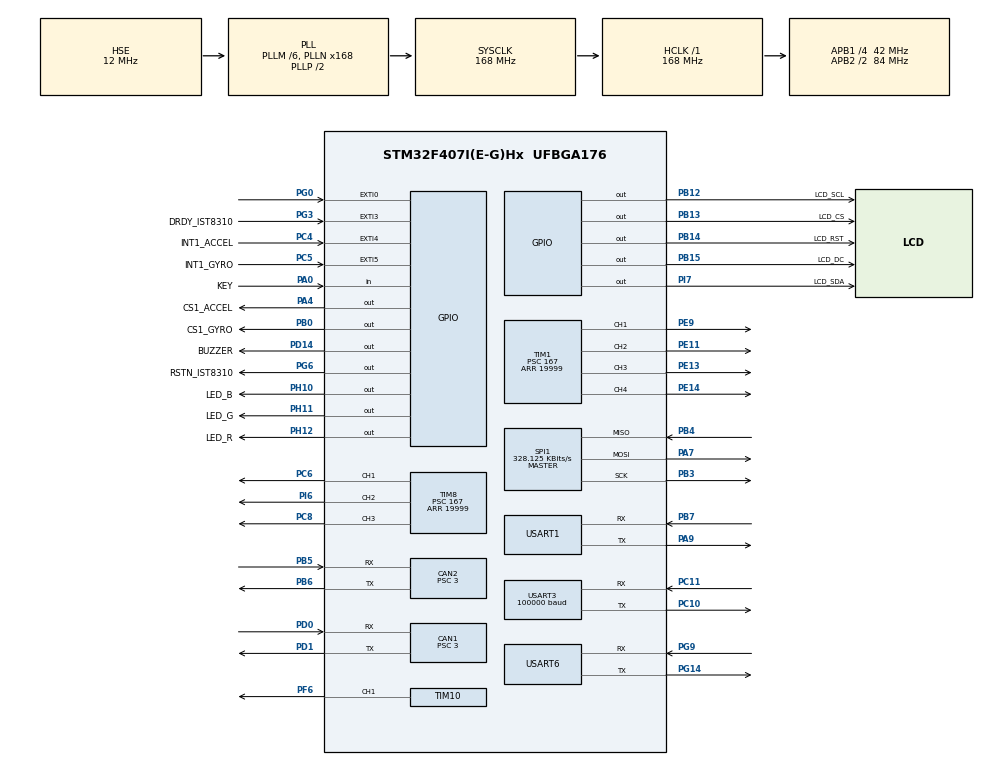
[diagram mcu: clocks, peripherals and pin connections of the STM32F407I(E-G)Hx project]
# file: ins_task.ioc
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CAN1.BS1=CAN_BS1_10TQ
CAN1.BS2=CAN_BS2_3TQ
CAN1.CalculateBaudRate=1000000
CAN1.CalculateTimeBit=1000
CAN1.CalculateTimeQuantum=71.42857142857143
CAN1.Prescaler=3
CAN2.BS1=CAN_BS1_10TQ
CAN2.BS2=CAN_BS2_3TQ
CAN2.CalculateBaudRate=1000000
CAN2.CalculateTimeBit=1000
CAN2.CalculateTimeQuantum=71.42857142857143
CAN2.Prescaler=3
Dma.Request0=SPI1_RX
Dma.Request1=SPI1_TX
Dma.Request2=USART3_RX
Dma.SPI1_RX.0.Direction=DMA_PERIPH_TO_MEMORY
Dma.SPI1_RX.0.FIFOMode=DMA_FIFOMODE_DISABLE
Dma.SPI1_RX.0.Instance=DMA2_Stream2
Dma.SPI1_RX.0.MemDataAlignment=DMA_MDATAALIGN_BYTE
Dma.SPI1_RX.0.MemInc=DMA_MINC_ENABLE
Dma.SPI1_RX.0.Mode=DMA_NORMAL
Dma.SPI1_RX.0.PeriphDataAlignment=DMA_PDATAALIGN_BYTE
Dma.SPI1_RX.0.PeriphInc=DMA_PINC_DISABLE
Dma.SPI1_RX.0.Priority=DMA_PRIORITY_VERY_HIGH
Dma.SPI1_TX.1.Direction=DMA_MEMORY_TO_PERIPH
Dma.SPI1_TX.1.FIFOMode=DMA_FIFOMODE_DISABLE
Dma.SPI1_TX.1.Instance=DMA2_Stream3
Dma.SPI1_TX.1.MemDataAlignment=DMA_MDATAALIGN_BYTE
Dma.SPI1_TX.1.MemInc=DMA_MINC_ENABLE
Dma.SPI1_TX.1.Mode=DMA_NORMAL
Dma.SPI1_TX.1.PeriphDataAlignment=DMA_PDATAALIGN_BYTE
Dma.SPI1_TX.1.PeriphInc=DMA_PINC_DISABLE
Dma.SPI1_TX.1.Priority=DMA_PRIORITY_HIGH
Dma.USART3_RX.2.Direction=DMA_PERIPH_TO_MEMORY
Dma.USART3_RX.2.FIFOMode=DMA_FIFOMODE_DISABLE
Dma.USART3_RX.2.Instance=DMA1_Stream1
Dma.USART3_RX.2.MemDataAlignment=DMA_MDATAALIGN_BYTE
Dma.USART3_RX.2.MemInc=DMA_MINC_ENABLE
Dma.USART3_RX.2.Mode=DMA_NORMAL
Dma.USART3_RX.2.PeriphDataAlignment=DMA_PDATAALIGN_BYTE
Dma.USART3_RX.2.PeriphInc=DMA_PINC_DISABLE
Dma.USART3_RX.2.Priority=DMA_PRIORITY_HIGH
FREERTOS.INCLUDE_eTaskGetState=1
FREERTOS.INCLUDE_pcTaskGetTaskName=1
FREERTOS.INCLUDE_uxTaskGetStackHighWaterMark=1
FREERTOS.INCLUDE_vTaskCleanUpResources=1
FREERTOS.INCLUDE_vTaskDelayUntil=1
FREERTOS.INCLUDE_xEventGroupSetBitFromISR=1
FREERTOS.INCLUDE_xQueueGetMutexHolder=1
FREERTOS.INCLUDE_xSemaphoreGetMutexHolder=1
FREERTOS.INCLUDE_xTaskAbortDelay=1
FREERTOS.INCLUDE_xTaskGetCurrentTaskHandle=1
FREERTOS.INCLUDE_xTaskGetHandle=1
FREERTOS.INCLUDE_xTimerPendFunctionCall=1
FREERTOS.Tasks01=test,24,128,test_task,As weak,NULL,Dynamic,NULL,NULL
FREERTOS.configTOTAL_HEAP_SIZE=24576
Mcu.Family=STM32F4
Mcu.Name=STM32F407I(E-G)Hx
Mcu.Package=UFBGA176
NVIC.CAN1_RX0_IRQn=true\:5\:0\:false\:false\:true\:true\:true\:true\:true
NVIC.CAN2_RX0_IRQn=true\:5\:0\:false\:false\:true\:true\:true\:true\:true
NVIC.DMA1_Stream1_IRQn=true\:5\:0\:false\:false\:true\:true\:false\:true\:true
NVIC.DMA2_Stream2_IRQn=true\:5\:0\:true\:false\:false\:true\:false\:true\:true
NVIC.DMA2_Stream3_IRQn=true\:5\:0\:true\:false\:false\:true\:false\:true\:true
NVIC.EXTI0_IRQn=true\:5\:0\:true\:false\:true\:true\:true\:true\:true
NVIC.EXTI3_IRQn=true\:5\:0\:true\:false\:true\:true\:true\:true\:true
NVIC.EXTI4_IRQn=true\:5\:0\:true\:false\:true\:true\:true\:true\:true
NVIC.EXTI9_5_IRQn=true\:5\:0\:true\:false\:true\:true\:true\:true\:true
NVIC.PriorityGroup=NVIC_PRIORITYGROUP_4
NVIC.TIM2_IRQn=true\:5\:0\:false\:false\:true\:true\:true\:true\:true
NVIC.USART1_IRQn=true\:5\:0\:false\:false\:true\:true\:true\:true\:true
NVIC.USART3_IRQn=true\:4\:0\:true\:false\:true\:false\:true\:true\:true
NVIC.USART6_IRQn=true\:5\:0\:false\:false\:true\:true\:true\:true\:true
PA0-WKUP.GPIO_Label=KEY
PA0-WKUP.GPIO_PuPd=GPIO_PULLUP
PA0-WKUP.Signal=GPIO_Input
PA13.Mode=Serial_Wire
PA13.Signal=SYS_JTMS-SWDIO
PA14.Mode=Serial_Wire
PA14.Signal=SYS_JTCK-SWCLK
PA4.GPIO_Label=CS1_ACCEL
PA4.GPIO_PuPd=GPIO_PULLUP
PA4.GPIO_Speed=GPIO_SPEED_FREQ_HIGH
PA4.PinState=GPIO_PIN_SET
PA4.Signal=GPIO_Output
PA7.GPIO_PuPd=GPIO_PULLUP
PA7.Mode=Full_Duplex_Master
PA7.Signal=SPI1_MOSI
PA8.GPIO_Pu=GPIO_PULLUP
PA8.Signal=I2C3_SCL
PA9.GPIO_PuPd=GPIO_PULLUP
PA9.Mode=Asynchronous
PA9.Signal=USART1_TX
PB0.GPIO_Label=CS1_GYRO
PB0.GPIO_PuPd=GPIO_PULLUP
PB0.GPIO_Speed=GPIO_SPEED_FREQ_HIGH
PB0.PinState=GPIO_PIN_SET
PB0.Signal=GPIO_Output
PB12.GPIO_Label=LCD_SCL
PB12.GPIO_Speed=GPIO_SPEED_FREQ_VERY_HIGH
PB12.Signal=GPIO_Output
PB13.GPIO_Label=LCD_CS
PB13.GPIO_Speed=GPIO_SPEED_FREQ_VERY_HIGH
PB13.Signal=GPIO_Output
PB14.GPIO_Label=LCD_RST
PB14.GPIO_Speed=GPIO_SPEED_FREQ_VERY_HIGH
PB14.Signal=GPIO_Output
PB15.GPIO_Label=LCD_DC
PB15.GPIO_Speed=GPIO_SPEED_FREQ_VERY_HIGH
PB15.Signal=GPIO_Output
PB3.GPIO_PuPd=GPIO_PULLUP
PB3.Mode=Full_Duplex_Master
PB3.Signal=SPI1_SCK
PB4.GPIO_PuPd=GPIO_PULLUP
PB4.Mode=Full_Duplex_Master
PB4.Signal=SPI1_MISO
PB5.Mode=CAN_Activate
PB5.Signal=CAN2_RX
PB6.Mode=CAN_Activate
PB6.Signal=CAN2_TX
PB7.GPIO_PuPd=GPIO_PULLUP
PB7.Mode=Asynchronous
PB7.Signal=USART1_RX
PC10.GPIO_PuPd=GPIO_PULLUP
PC10.Mode=Asynchronous
PC10.Signal=USART3_TX
PC11.GPIO_PuPd=GPIO_PULLUP
PC11.Mode=Asynchronous
PC11.Signal=USART3_RX
PC4.GPIO_Label=INT1_ACCEL
PC4.GPIO_ModeDefaultEXTI=GPIO_MODE_IT_FALLING
PC4.GPIO_PuPd=GPIO_PULLUP
PC4.Signal=GPXTI4
PC5.GPIO_Label=INT1_GYRO
PC5.GPIO_ModeDefaultEXTI=GPIO_MODE_IT_FALLING
PC5.GPIO_PuPd=GPIO_PULLUP
PC5.Signal=GPXTI5
PC6.Signal=S_TIM8_CH1
PC8.Signal=S_TIM8_CH3
PC9.GPIO_Pu=GPIO_PULLUP
PC9.Signal=I2C3_SDA
PD0.Mode=CAN_Activate
PD0.Signal=CAN1_RX
PD1.Mode=CAN_Activate
PD1.Signal=CAN1_TX
PD14.GPIO_Label=BUZZER
PD14.GPIO_ModeDefaultOutputPP=GPIO_MODE_OUTPUT_PP
PD14.GPIO_PuPd=GPIO_NOPULL
PD14.Signal=GPIO_Output
PE11.Signal=S_TIM1_CH2
PE13.Signal=S_TIM1_CH3
PE14.Signal=S_TIM1_CH4
PE9.Signal=S_TIM1_CH1
PF6.GPIO_PuPd=GPIO_PULLUP
PF6.GPIO_Speed=GPIO_SPEED_FREQ_HIGH
PF6.Signal=S_TIM10_CH1
PG0.Signal=GPXTI0
PG14.GPIO_PuPd=GPIO_PULLUP
PG14.Mode=Asynchronous
PG14.Signal=USART6_TX
PG3.GPIO_Label=DRDY_IST8310
PG3.GPIO_ModeDefaultEXTI=GPIO_MODE_IT_FALLING
PG3.GPIO_PuPd=GPIO_PULLUP
PG3.Signal=GPXTI3
PG6.GPIO_Label=RSTN_IST8310
PG6.GPIO_PuPd=GPIO_PULLUP
PG6.GPIO_Speed=GPIO_SPEED_FREQ_MEDIUM
PG6.PinState=GPIO_PIN_SET
PG6.Signal=GPIO_Output
PG9.GPIO_PuPd=GPIO_PULLUP
PG9.Mode=Asynchronous
PG9.Signal=USART6_RX
PH0-OSC_IN.Mode=HSE-External-Oscillator
PH0-OSC_IN.Signal=RCC_OSC_IN
PH1-OSC_OUT.Mode=HSE-External-Oscillator
PH1-OSC_OUT.Signal=RCC_OSC_OUT
PH10.GPIO_Label=LED_B
PH10.GPIO_PuPd=GPIO_PULLUP
PH10.GPIO_Speed=GPIO_SPEED_FREQ_LOW
PH10.PinState=GPIO_PIN_SET
PH10.Signal=GPIO_Output
PH11.GPIO_Label=LED_G
PH11.GPIO_PuPd=GPIO_PULLUP
PH11.PinState=GPIO_PIN_SET
PH11.Signal=GPIO_Output
PH12.GPIO_Label=LED_R
PH12.GPIO_PuPd=GPIO_PULLUP
PH12.PinState=GPIO_PIN_SET
PH12.Signal=GPIO_Output
PI6.Signal=S_TIM8_CH2
PI7.GPIO_Label=LCD_SDA
PI7.GPIO_PuPd=GPIO_NOPULL
PI7.GPIO_Speed=GPIO_SPEED_FREQ_VERY_HIGH
PI7.PinState=GPIO_PIN_RESET
PI7.Signal=GPIO_Output
ProjectManager.HeapSize=0x2000
ProjectManager.StackSize=0x2000
ProjectManager.TargetToolchain=MDK-ARM V5
RCC.48MHZClocksFreq_Value=48000000
RCC.AHBFreq_Value=168000000
RCC.APB1CLKDivider=RCC_HCLK_DIV4
RCC.APB1Freq_Value=42000000
RCC.APB1TimFreq_Value=84000000
RCC.APB2CLKDivider=RCC_HCLK_DIV2
RCC.APB2Freq_Value=84000000
RCC.APB2TimFreq_Value=168000000
RCC.CortexFreq_Value=168000000
RCC.HCLKFreq_Value=168000000
RCC.HSE_VALUE=12000000
RCC.HSI_VALUE=16000000
RCC.LSE_VALUE=32768
RCC.PLLM=6
RCC.PLLN=168
RCC.PLLQ=7
RCC.PLLSourceVirtual=RCC_PLLSOURCE_HSE
RCC.RCC_RTC_Clock_SourceVirtual=RCC_RTCCLKSOURCE_HSE_DIV30
RCC.RCC_RTC_Clock_Source_FROM_HSE=RCC_RTCCLKSOURCE_HSE_DIV30
RCC.SYSCLKFreq_VALUE=168000000
RCC.SYSCLKSource=RCC_SYSCLKSOURCE_PLLCLK
RCC.VCOOutputFreq_Value=336000000
SH.S_TIM10_CH1.0=TIM10_CH1,PWM Generation1 CH1
SH.S_TIM1_CH1.0=TIM1_CH1,PWM Generation1 CH1
SH.S_TIM1_CH2.0=TIM1_CH2,PWM Generation2 CH2
SH.S_TIM1_CH3.0=TIM1_CH3,PWM Generation3 CH3
SH.S_TIM1_CH4.0=TIM1_CH4,PWM Generation4 CH4
SH.S_TIM8_CH1.0=TIM8_CH1,PWM Generation1 CH1
SH.S_TIM8_CH2.0=TIM8_CH2,PWM Generation2 CH2
SH.S_TIM8_CH3.0=TIM8_CH3,PWM Generation3 CH3
SPI1.BaudRatePrescaler=SPI_BAUDRATEPRESCALER_256
SPI1.CLKPhase=SPI_PHASE_2EDGE
SPI1.CLKPolarity=SPI_POLARITY_HIGH
SPI1.CalculateBaudRate=328.125 KBits/s
SPI1.Direction=SPI_DIRECTION_2LINES
SPI1.Mode=SPI_MODE_MASTER
SPI1.VirtualType=VM_MASTER
TIM1.Channel-PWM\ Generation1\ CH1=TIM_CHANNEL_1
TIM1.Channel-PWM\ Generation2\ CH2=TIM_CHANNEL_2
TIM1.Channel-PWM\ Generation3\ CH3=TIM_CHANNEL_3
TIM1.Channel-PWM\ Generation4\ CH4=TIM_CHANNEL_4
TIM1.Period=19999
TIM1.Prescaler=167
TIM1.Pulse-PWM\ Generation1\ CH1=1500
TIM1.Pulse-PWM\ Generation3\ CH3=1500
TIM1.Pulse-PWM\ Generation4\ CH4=2400
TIM10.Channel=TIM_CHANNEL_1
TIM10.Period=4999
TIM2.Period=1999
TIM2.Prescaler=167
TIM8.Channel-PWM\ Generation1\ CH1=TIM_CHANNEL_1
TIM8.Channel-PWM\ Generation2\ CH2=TIM_CHANNEL_2
TIM8.Channel-PWM\ Generation3\ CH3=TIM_CHANNEL_3
TIM8.Period=19999
TIM8.Prescaler=167
TIM8.Pulse-PWM\ Generation1\ CH1=1300
TIM8.Pulse-PWM\ Generation2\ CH2=1250
TIM8.Pulse-PWM\ Generation3\ CH3=1500
USART1.VirtualMode=VM_ASYNC
USART3.BaudRate=100000
USART3.Parity=PARITY_EVEN
USART3.VirtualMode=VM_ASYNC
USART6.VirtualMode=VM_ASYNC
VP_FREERTOS_VS_CMSIS_V1.Mode=CMSIS_V1
VP_TIM10_VS_ClockSourceINT.Mode=Enable_Timer
VP_TIM1_VS_ClockSourceINT.Mode=Internal
VP_TIM2_VS_ClockSourceINT.Mode=Internal
VP_TIM8_VS_ClockSourceINT.Mode=Internal
board=custom

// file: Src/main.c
/* USER CODE BEGIN Header */
/**
  ******************************************************************************
  * @file           : main.c
  * @brief          : Main program body
  ******************************************************************************
  * @attention
  *
  * <h2><center>&copy; Copyright (c) 2019 STMicroelectronics.
  * All rights reserved.</center></h2>
  *
  * This software component is licensed by ST under Ultimate Liberty license
  * SLA0044, the "License"; You may not use this file except in compliance with
  * the License. You may obtain a copy of the License at:
  *                             www.st.com/SLA0044
  *
  ******************************************************************************
  */
/* USER CODE END Header */
#include "main.h"
#include "cmsis_os.h"
#include "can.h"
#include "dma.h"
#include "spi.h"
#include "tim.h"
#include "usart.h"
#include "gpio.h"

/* USER CODE BEGIN Includes */
#include "bsp_delay.h"
#include "bsp_can.h"
#include "CAN_receive.h"
#include "GUI.h"
#include "Lcd_Driver.h"
#include "remote_control.h"
#include "arm_control.h"
#include "WIFI.h"
/* USER CODE END Includes */

void SystemClock_Config(void);
void MX_FREERTOS_Init(void);
/* USER CODE BEGIN PFP */
uint8_t wifi_success=0;
/* USER CODE END PFP */

int main(void)
{

  /* MCU Configuration--------------------------------------------------------*/

  /* Reset of all peripherals, Initializes the Flash interface and the Systick. */
  HAL_Init();

  /* Configure the system clock */
  SystemClock_Config();

  /* Initialize all configured peripherals */
  MX_GPIO_Init();
  MX_DMA_Init();
  MX_SPI1_Init();
  MX_TIM10_Init();
  MX_TIM1_Init();
  MX_CAN1_Init();
  MX_CAN2_Init();
  MX_USART1_UART_Init();
  MX_USART6_UART_Init();
  MX_USART3_UART_Init();
  MX_TIM8_Init();
  MX_TIM2_Init();
  /* USER CODE BEGIN 2 */
	remote_control_init();
	can_filter_init();
	Lcd_Init();
  delay_init();
	HAL_TIM_Base_Start_IT(&htim1);
	HAL_TIM_Base_Start_IT(&htim2);
	__HAL_UART_ENABLE_IT(&huart1, UART_IT_RXNE);  //receive interrupt
  __HAL_UART_ENABLE_IT(&huart1, UART_IT_IDLE);  //idle interrupt
  __HAL_UART_ENABLE_IT(&huart6, UART_IT_RXNE);  //receive interrupt
  __HAL_UART_ENABLE_IT(&huart6, UART_IT_IDLE);  //idle interrupt

	HAL_TIM_PWM_Start(&htim1, TIM_CHANNEL_1);//转盘舵机
	HAL_TIM_PWM_Start(&htim1, TIM_CHANNEL_2);//前方云台舵机
	HAL_TIM_PWM_Start(&htim1, TIM_CHANNEL_3); //底部1号舵机   限幅900~2000   900位于前端
	HAL_TIM_PWM_Start(&htim1, TIM_CHANNEL_4);	//2号舵机
	HAL_TIM_PWM_Start(&htim8, TIM_CHANNEL_1); //
	HAL_TIM_PWM_Start(&htim8, TIM_CHANNEL_2); //夹子舵机
	HAL_Delay(1000);
	if(wifi_tcp_init()==0)
		wifi_success=1;
  /* USER CODE END 2 */

  /* Call init function for freertos objects (in freertos.c) */
  MX_FREERTOS_Init();

  /* Start scheduler */
  osKernelStart();

  /* We should never get here as control is now taken by the scheduler */
  /* Infinite loop */
  while (1)
  {

  }
}

void SystemClock_Config(void)
{
  RCC_OscInitTypeDef RCC_OscInitStruct = {0};
  RCC_ClkInitTypeDef RCC_ClkInitStruct = {0};

  /** Configure the main internal regulator output voltage
  */
  __HAL_RCC_PWR_CLK_ENABLE();
  __HAL_PWR_VOLTAGESCALING_CONFIG(PWR_REGULATOR_VOLTAGE_SCALE1);

  /** Initializes the RCC Oscillators according to the specified parameters
  * in the RCC_OscInitTypeDef structure.
  */
  RCC_OscInitStruct.OscillatorType = RCC_OSCILLATORTYPE_HSE;
  RCC_OscInitStruct.HSEState = RCC_HSE_ON;
  RCC_OscInitStruct.PLL.PLLState = RCC_PLL_ON;
  RCC_OscInitStruct.PLL.PLLSource = RCC_PLLSOURCE_HSE;
  RCC_OscInitStruct.PLL.PLLM = 6;
  RCC_OscInitStruct.PLL.PLLN = 168;
  RCC_OscInitStruct.PLL.PLLP = RCC_PLLP_DIV2;
  RCC_OscInitStruct.PLL.PLLQ = 7;
  if (HAL_RCC_OscConfig(&RCC_OscInitStruct) != HAL_OK)
  {
    Error_Handler();
  }

  /** Initializes the CPU, AHB and APB buses clocks
  */
  RCC_ClkInitStruct.ClockType = RCC_CLOCKTYPE_HCLK|RCC_CLOCKTYPE_SYSCLK
                              |RCC_CLOCKTYPE_PCLK1|RCC_CLOCKTYPE_PCLK2;
  RCC_ClkInitStruct.SYSCLKSource = RCC_SYSCLKSOURCE_PLLCLK;
  RCC_ClkInitStruct.AHBCLKDivider = RCC_SYSCLK_DIV1;
  RCC_ClkInitStruct.APB1CLKDivider = RCC_HCLK_DIV4;
  RCC_ClkInitStruct.APB2CLKDivider = RCC_HCLK_DIV2;

  if (HAL_RCC_ClockConfig(&RCC_ClkInitStruct, FLASH_LATENCY_5) != HAL_OK)
  {
    Error_Handler();
  }
}

void Error_Handler(void)
{
}

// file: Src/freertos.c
/* USER CODE BEGIN Header */
/**
  ******************************************************************************
  * File Name          : freertos.c
  * Description        : Code for freertos applications
  ******************************************************************************
  * @attention
  *
  * <h2><center>&copy; Copyright (c) 2019 STMicroelectronics.
  * All rights reserved.</center></h2>
  *
  * This software component is licensed by ST under Ultimate Liberty license
  * SLA0044, the "License"; You may not use this file except in compliance with
  * the License. You may obtain a copy of the License at:
  *                             www.st.com/SLA0044
  *
  ******************************************************************************
  */
/* USER CODE END Header */

#include "FreeRTOS.h"
#include "task.h"
#include "main.h"
#include "cmsis_os.h"

/* USER CODE BEGIN Includes */
#include "Main_Loop.h"
#include "INS_task.h"
#include "KEY_TASK.h"
#include "PID_task.h"
#include "LCD_task.h"
#include "Servo_task.h"
#include "follow_line.h"
/* USER CODE END Includes */

/* USER CODE BEGIN PTD */

osThreadId imuTaskHandle;
osThreadId keyHandle;
osThreadId pidcalchandle;
osThreadId lcdshowhandle;
osThreadId MainLoophandle;
osThreadId ServoHandle;
osThreadId FollowLineHandle;
/* USER CODE END PTD */

/* USER CODE BEGIN Variables */
SemaphoreHandle_t Rotation_Handle =NULL; // 旋转信号量
/* USER CODE END Variables */
osThreadId testHandle;

void test_task(void const * argument);

void MX_FREERTOS_Init(void); /* (MISRA C 2004 rule 8.1) */

/* GetIdleTaskMemory prototype (linked to static allocation support) */
void vApplicationGetIdleTaskMemory( StaticTask_t **ppxIdleTaskTCBBuffer, StackType_t **ppxIdleTaskStackBuffer, uint32_t *pulIdleTaskStackSize );

/* GetTimerTaskMemory prototype (linked to static allocation support) */
void vApplicationGetTimerTaskMemory( StaticTask_t **ppxTimerTaskTCBBuffer, StackType_t **ppxTimerTaskStackBuffer, uint32_t *pulTimerTaskStackSize );

/* USER CODE BEGIN GET_IDLE_TASK_MEMORY */
static StaticTask_t xIdleTaskTCBBuffer;
static StackType_t xIdleStack[configMINIMAL_STACK_SIZE];

void vApplicationGetIdleTaskMemory( StaticTask_t **ppxIdleTaskTCBBuffer, StackType_t **ppxIdleTaskStackBuffer, uint32_t *pulIdleTaskStackSize )
{
  *ppxIdleTaskTCBBuffer = &xIdleTaskTCBBuffer;
  *ppxIdleTaskStackBuffer = &xIdleStack[0];
  *pulIdleTaskStackSize = configMINIMAL_STACK_SIZE;
  /* place for user code */
}
/* USER CODE END GET_IDLE_TASK_MEMORY */

/* USER CODE BEGIN GET_TIMER_TASK_MEMORY */
static StaticTask_t xTimerTaskTCBBuffer;
static StackType_t xTimerStack[configTIMER_TASK_STACK_DEPTH];

void vApplicationGetTimerTaskMemory( StaticTask_t **ppxTimerTaskTCBBuffer, StackType_t **ppxTimerTaskStackBuffer, uint32_t *pulTimerTaskStackSize )
{
  *ppxTimerTaskTCBBuffer = &xTimerTaskTCBBuffer;
  *ppxTimerTaskStackBuffer = &xTimerStack[0];
  *pulTimerTaskStackSize = configTIMER_TASK_STACK_DEPTH;
  /* place for user code */
}
/* USER CODE END GET_TIMER_TASK_MEMORY */

void MX_FREERTOS_Init(void) {

  /* USER CODE BEGIN RTOS_QUEUES */
	Rotation_Handle = xSemaphoreCreateBinary();
	xSemaphoreGive(Rotation_Handle);
  /* USER CODE END RTOS_QUEUES */

  /* Create the thread(s) */
  /* definition and creation of test */
  osThreadDef(test, test_task, osPriorityNormal, 0, 128);
  testHandle = osThreadCreate(osThread(test), NULL);

  /* USER CODE BEGIN RTOS_THREADS */
  /* add threads, ... */
	osThreadDef(imuTask, INS_task, osPriorityRealtime, 0, 1024);
	imuTaskHandle = osThreadCreate(osThread(imuTask), NULL);

	osThreadDef(keyTask, KEY_Task, osPriorityNormal, 0, 256);
	keyHandle = osThreadCreate(osThread(keyTask), NULL);

	osThreadDef(PID_Calc_Task, PID_CALC_TASK, osPriorityNormal, 0, 128);
	pidcalchandle = osThreadCreate(osThread(PID_Calc_Task), NULL);

	osThreadDef(LCD_Task, LCD_TASK, osPriorityNormal, 0, 256);
	lcdshowhandle = osThreadCreate(osThread(LCD_Task), NULL);

	osThreadDef(Main_Loop_Task, Main_Loop_TASK, osPriorityNormal, 0, 1024);
	MainLoophandle = osThreadCreate(osThread(Main_Loop_Task), NULL);

	osThreadDef(Servo_Task, servo_task, osPriorityNormal, 0, 256);
	ServoHandle = osThreadCreate(osThread(Servo_Task), NULL);

	osThreadDef(Follow_Line_Task, follow_line_task, osPriorityNormal, 0, 256);
	FollowLineHandle = osThreadCreate(osThread(Follow_Line_Task), NULL);
  /* USER CODE END RTOS_THREADS */

}

__weak void test_task(void const * argument)
{
  for(;;)
  {
    osDelay(1);
  }
}
